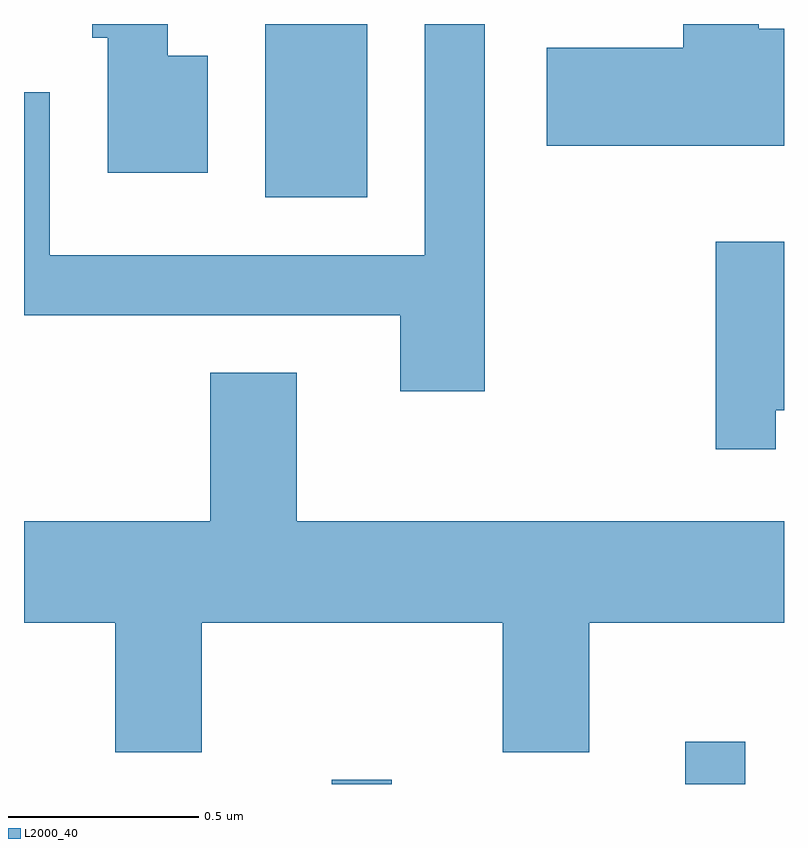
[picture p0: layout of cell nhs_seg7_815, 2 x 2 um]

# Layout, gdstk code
import gdstk
lib = gdstk.Library(unit=1e-6, precision=1e-09)
def R(c, l, rs):  # rectangles x0, y0, x1, y1
    for r in rs: c.add(gdstk.rectangle(r[:2], r[2:], *l))
def P(c, l, *ps):  # polygons
    for p in ps: c.add(gdstk.Polygon(p, *l))
L2000_40 = (2000, 40)

nhs_seg7_815 = lib.new_cell('nhs_seg7_815')
R(nhs_seg7_815, L2000_40, [(191.421,1798.252,191.579,1798.263), (192.351,1798.252,192.509,1798.363), (191.246,1799.796,191.514,1800.252)])
P(nhs_seg7_815, L2000_40, [(191.824,1800.252),(191.666,1800.252),(191.666,1799.644),(190.679,1799.644),(190.679,1800.073),(190.611,1800.073),(190.611,1799.486),(191.601,1799.486),(191.601,1799.286),(191.824,1799.286)],
  [(192.611,1800.239),(192.544,1800.239),(192.544,1800.252),(192.346,1800.252),(192.346,1800.189),(191.986,1800.189),(191.986,1799.931),(192.611,1799.931)],
  [(191.094,1800.169),(190.989,1800.169),(190.989,1800.252),(190.791,1800.252),(190.791,1800.216),(190.831,1800.216),(190.831,1799.861),(191.094,1799.861)],
  [(192.589,1799.236),(192.611,1799.236),(192.611,1799.679),(192.431,1799.679),(192.431,1799.133),(192.589,1799.133)],
  [(191.079,1798.676),(191.871,1798.676),(191.871,1798.336),(192.099,1798.336),(192.099,1798.676),(192.611,1798.676),(192.611,1798.944),(191.329,1798.944),(191.329,1799.334),(191.101,1799.334),(191.101,1798.944),(190.611,1798.944),(190.611,1798.676),(190.851,1798.676),(190.851,1798.336),(191.079,1798.336)])

lib.write_gds('nhs_seg7_815.gds')
